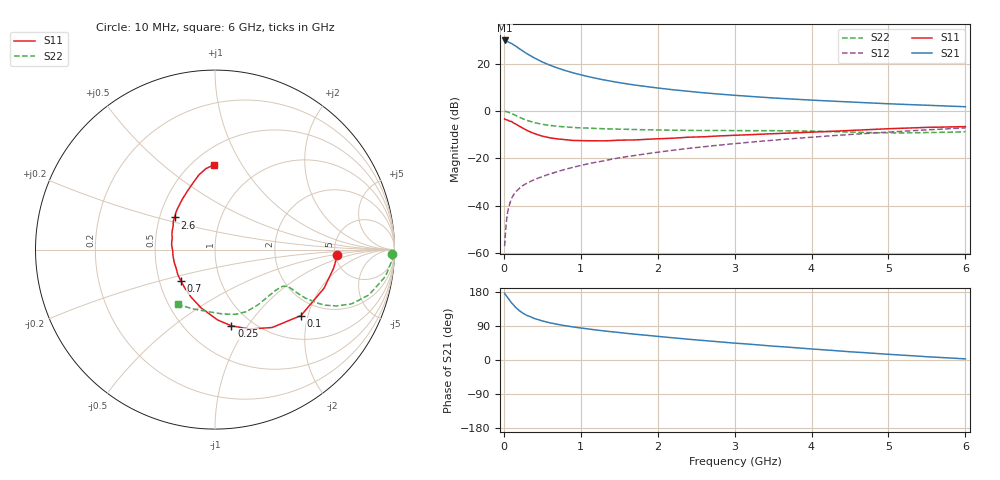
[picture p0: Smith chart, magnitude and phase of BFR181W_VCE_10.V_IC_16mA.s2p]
! (c) 2017  Infineon Technologies AG, Munich
! Infineon Technologies  Discrete & RF Semiconductors
! BFR181W
! VCE =  10. V,  IC =  16 mA
! Common Emitter S-Parameters:  Jan 2017
# GHz  S  MA  R  50
!  f  S11  S21  S12  S22
! GHz  MAG  ANG  MAG  ANG  MAG  ANG  MAG  ANG
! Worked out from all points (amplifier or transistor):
!   77 points, 10 MHz to 6 GHz, reference 50 ohm
!   highest |S21| = 29.9 dB at 10 MHz (marker M1)
!   |S21| within 3 dB of that: start of sweep to 180.8 MHz
!   unconditionally stable (mu >= 1): 890.3 MHz to 2.759 GHz
!   at 130 MHz: K = 0.35, MSG = 31.6 dB, |S12| = -35.2 dB
!   at 2.2 GHz: K = 1.04, MAG = 11.6 dB, |S12| = -16.5 dB
!   at 6 GHz: K = 0.84, MSG = 4.5 dB, |S12| = -7.1 dB
!   S11 on the Smith chart (normalised r, x): 10 MHz: 5.22, -0.61; 100 MHz: 1.56, -1.81; 250 MHz: 0.81, -0.84; 700 MHz: 0.64, -0.24; 2.6 GHz: 0.60, +0.23; 6 GHz: 0.63, +0.76
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0.01  0.6824 -2.6  31.19 176.1  0.0014 85.9  0.9862 -1.5
0.02  0.6693 -8.8  30.61 172.8  0.0025 88.6  0.9885 -3.3
0.05  0.6447 -19.5  29.52 164.4  0.0074 80.1  0.9619 -8.9
0.1  0.6039 -37.5  26.98 150.7  0.0143 73.4  0.8942 -16.4
0.15  0.5384 -53.7  23.95 139.6  0.0194 69.4  0.818 -21.7
0.2  0.4832 -66.4  20.99 130.4  0.0232 66.7  0.7461 -24.9
0.25  0.434 -77.9  18.52 123.3  0.027 65.0  0.6868 -26.8
0.3  0.3926 -87.8  16.37 117.6  0.03 63.3  0.6374 -27.7
0.4  0.3343 -103.3  13.21 109.2  0.0359 64.7  0.5705 -28.2
0.5  0.2968 -116.6  10.95 103.1  0.0414 64.8  0.5273 -27.9
0.6  0.2728 -127.8  9.356 98.1  0.0472 66.0  0.4982 -27.5
0.7  0.2584 -137.6  8.133 94.0  0.0529 67.5  0.4781 -27.1
0.9  0.2403 -154.2  6.45 87.3  0.065 69.0  0.4525 -27.2
1.1  0.2368 -166.8  5.359 81.9  0.0775 70.0  0.4369 -27.8
1.3  0.2353 -177.7  4.575 76.8  0.0892 70.0  0.4253 -29.1
1.5  0.2432 173.8  4.009 72.5  0.1028 69.9  0.4159 -31.0
2.1  0.2639 153.3  2.956 60.5  0.1423 68.5  0.3977 -39.1
2.6  0.2872 141.4  2.442 51.3  0.177 66.4  0.3902 -47.8
3.1  0.3134 130.6  2.106 43.1  0.2129 63.5  0.3874 -56.6
4.1  0.3653 114.0  1.679 27.7  0.2891 56.7  0.3742 -74.4
5.1  0.4305 101.1  1.411 13.8  0.369 48.2  0.3471 -99.3
6  0.4711 90.9  1.24 2.9  0.4426 39.7  0.3674 -123.9
